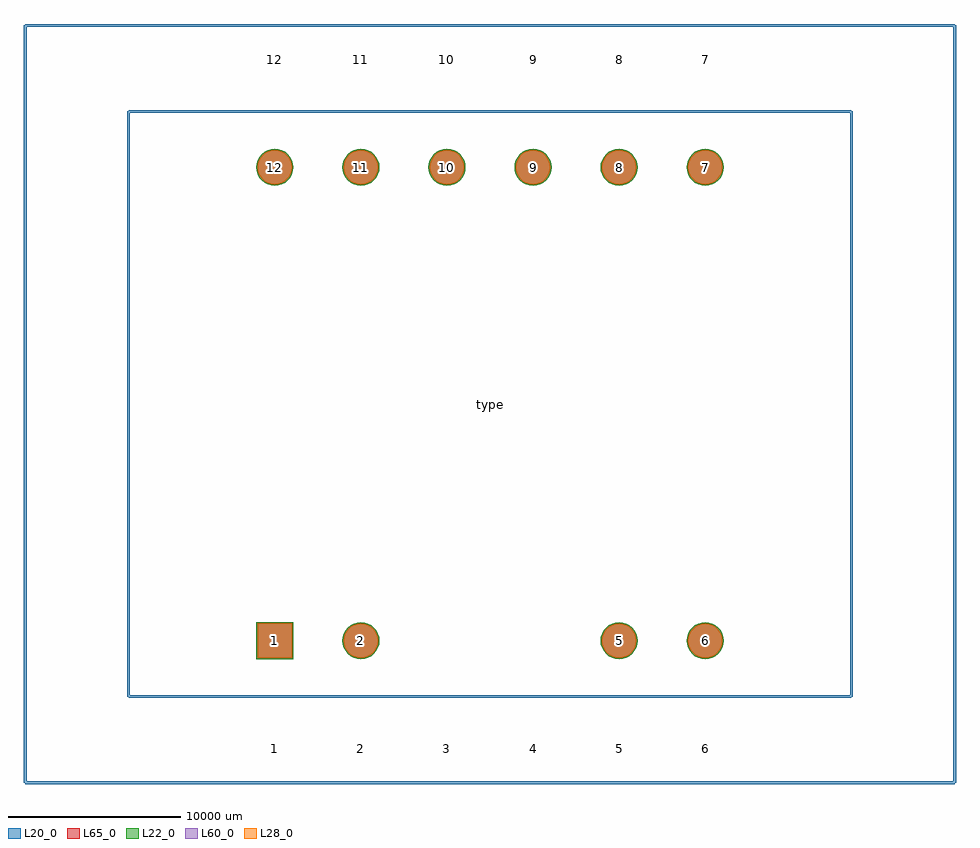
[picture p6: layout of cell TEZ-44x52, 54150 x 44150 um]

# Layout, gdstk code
import gdstk
lib = gdstk.Library(unit=1e-6, precision=1e-09)
def R(c, l, rs):  # rectangles x0, y0, x1, y1
    for r in rs: c.add(gdstk.rectangle(r[:2], r[2:], *l))
def P(c, l, *ps):  # polygons
    for p in ps: c.add(gdstk.Polygon(p, *l))
L20_0 = (20, 0)
L22_0 = (22, 0)
L28_0 = (28, 0)
L60_0 = (60, 0)
L65_0 = (65, 0)

tez_44x52 = lib.new_cell('TEZ-44x52')
R(tez_44x52, L22_0, [(-13575,-14825,-11425,-12675)])
P(tez_44x52, L22_0, [(-11425,13750),(-11445.656,13959.722),(-11506.83,14161.385),(-11606.17,14347.238),(-11739.86,14510.14),(-11902.762,14643.83),(-12088.615,14743.17),(-12290.278,14804.344),(-12500,14825),(-12709.722,14804.344),(-12911.385,14743.17),(-13097.238,14643.83),(-13260.14,14510.14),(-13393.83,14347.238),(-13493.17,14161.385),(-13554.344,13959.722),(-13575,13750),(-13554.344,13540.278),(-13493.17,13338.615),(-13393.83,13152.762),(-13260.14,12989.86),(-13097.238,12856.17),(-12911.385,12756.83),(-12709.722,12695.656),(-12500,12675),(-12290.278,12695.656),(-12088.615,12756.83),(-11902.762,12856.17),(-11739.86,12989.86),(-11606.17,13152.762),(-11506.83,13338.615),(-11445.656,13540.278)],
  [(-6425,13750),(-6445.656,13959.722),(-6506.83,14161.385),(-6606.17,14347.238),(-6739.86,14510.14),(-6902.762,14643.83),(-7088.615,14743.17),(-7290.278,14804.344),(-7500,14825),(-7709.722,14804.344),(-7911.385,14743.17),(-8097.238,14643.83),(-8260.14,14510.14),(-8393.83,14347.238),(-8493.17,14161.385),(-8554.344,13959.722),(-8575,13750),(-8554.344,13540.278),(-8493.17,13338.615),(-8393.83,13152.762),(-8260.14,12989.86),(-8097.238,12856.17),(-7911.385,12756.83),(-7709.722,12695.656),(-7500,12675),(-7290.278,12695.656),(-7088.615,12756.83),(-6902.762,12856.17),(-6739.86,12989.86),(-6606.17,13152.762),(-6506.83,13338.615),(-6445.656,13540.278)],
  [(-1425,13750),(-1445.656,13959.722),(-1506.83,14161.385),(-1606.17,14347.238),(-1739.86,14510.14),(-1902.762,14643.83),(-2088.615,14743.17),(-2290.278,14804.344),(-2500,14825),(-2709.722,14804.344),(-2911.385,14743.17),(-3097.238,14643.83),(-3260.14,14510.14),(-3393.83,14347.238),(-3493.17,14161.385),(-3554.344,13959.722),(-3575,13750),(-3554.344,13540.278),(-3493.17,13338.615),(-3393.83,13152.762),(-3260.14,12989.86),(-3097.238,12856.17),(-2911.385,12756.83),(-2709.722,12695.656),(-2500,12675),(-2290.278,12695.656),(-2088.615,12756.83),(-1902.762,12856.17),(-1739.86,12989.86),(-1606.17,13152.762),(-1506.83,13338.615),(-1445.656,13540.278)],
  [(3575,13750),(3554.344,13959.722),(3493.17,14161.385),(3393.83,14347.238),(3260.14,14510.14),(3097.238,14643.83),(2911.385,14743.17),(2709.722,14804.344),(2500,14825),(2290.278,14804.344),(2088.615,14743.17),(1902.762,14643.83),(1739.86,14510.14),(1606.17,14347.238),(1506.83,14161.385),(1445.656,13959.722),(1425,13750),(1445.656,13540.278),(1506.83,13338.615),(1606.17,13152.762),(1739.86,12989.86),(1902.762,12856.17),(2088.615,12756.83),(2290.278,12695.656),(2500,12675),(2709.722,12695.656),(2911.385,12756.83),(3097.238,12856.17),(3260.14,12989.86),(3393.83,13152.762),(3493.17,13338.615),(3554.344,13540.278)],
  [(8575,13750),(8554.344,13959.722),(8493.17,14161.385),(8393.83,14347.238),(8260.14,14510.14),(8097.238,14643.83),(7911.385,14743.17),(7709.722,14804.344),(7500,14825),(7290.278,14804.344),(7088.615,14743.17),(6902.762,14643.83),(6739.86,14510.14),(6606.17,14347.238),(6506.83,14161.385),(6445.656,13959.722),(6425,13750),(6445.656,13540.278),(6506.83,13338.615),(6606.17,13152.762),(6739.86,12989.86),(6902.762,12856.17),(7088.615,12756.83),(7290.278,12695.656),(7500,12675),(7709.722,12695.656),(7911.385,12756.83),(8097.238,12856.17),(8260.14,12989.86),(8393.83,13152.762),(8493.17,13338.615),(8554.344,13540.278)],
  [(13575,13750),(13554.344,13959.722),(13493.17,14161.385),(13393.83,14347.238),(13260.14,14510.14),(13097.238,14643.83),(12911.385,14743.17),(12709.722,14804.344),(12500,14825),(12290.278,14804.344),(12088.615,14743.17),(11902.762,14643.83),(11739.86,14510.14),(11606.17,14347.238),(11506.83,14161.385),(11445.656,13959.722),(11425,13750),(11445.656,13540.278),(11506.83,13338.615),(11606.17,13152.762),(11739.86,12989.86),(11902.762,12856.17),(12088.615,12756.83),(12290.278,12695.656),(12500,12675),(12709.722,12695.656),(12911.385,12756.83),(13097.238,12856.17),(13260.14,12989.86),(13393.83,13152.762),(13493.17,13338.615),(13554.344,13540.278)],
  [(13575,-13750),(13554.344,-13540.278),(13493.17,-13338.615),(13393.83,-13152.762),(13260.14,-12989.86),(13097.238,-12856.17),(12911.385,-12756.83),(12709.722,-12695.656),(12500,-12675),(12290.278,-12695.656),(12088.615,-12756.83),(11902.762,-12856.17),(11739.86,-12989.86),(11606.17,-13152.762),(11506.83,-13338.615),(11445.656,-13540.278),(11425,-13750),(11445.656,-13959.722),(11506.83,-14161.385),(11606.17,-14347.238),(11739.86,-14510.14),(11902.762,-14643.83),(12088.615,-14743.17),(12290.278,-14804.344),(12500,-14825),(12709.722,-14804.344),(12911.385,-14743.17),(13097.238,-14643.83),(13260.14,-14510.14),(13393.83,-14347.238),(13493.17,-14161.385),(13554.344,-13959.722)],
  [(8575,-13750),(8554.344,-13540.278),(8493.17,-13338.615),(8393.83,-13152.762),(8260.14,-12989.86),(8097.238,-12856.17),(7911.385,-12756.83),(7709.722,-12695.656),(7500,-12675),(7290.278,-12695.656),(7088.615,-12756.83),(6902.762,-12856.17),(6739.86,-12989.86),(6606.17,-13152.762),(6506.83,-13338.615),(6445.656,-13540.278),(6425,-13750),(6445.656,-13959.722),(6506.83,-14161.385),(6606.17,-14347.238),(6739.86,-14510.14),(6902.762,-14643.83),(7088.615,-14743.17),(7290.278,-14804.344),(7500,-14825),(7709.722,-14804.344),(7911.385,-14743.17),(8097.238,-14643.83),(8260.14,-14510.14),(8393.83,-14347.238),(8493.17,-14161.385),(8554.344,-13959.722)],
  [(-6425,-13750),(-6445.656,-13540.278),(-6506.83,-13338.615),(-6606.17,-13152.762),(-6739.86,-12989.86),(-6902.762,-12856.17),(-7088.615,-12756.83),(-7290.278,-12695.656),(-7500,-12675),(-7709.722,-12695.656),(-7911.385,-12756.83),(-8097.238,-12856.17),(-8260.14,-12989.86),(-8393.83,-13152.762),(-8493.17,-13338.615),(-8554.344,-13540.278),(-8575,-13750),(-8554.344,-13959.722),(-8493.17,-14161.385),(-8393.83,-14347.238),(-8260.14,-14510.14),(-8097.238,-14643.83),(-7911.385,-14743.17),(-7709.722,-14804.344),(-7500,-14825),(-7290.278,-14804.344),(-7088.615,-14743.17),(-6902.762,-14643.83),(-6739.86,-14510.14),(-6606.17,-14347.238),(-6506.83,-14161.385),(-6445.656,-13959.722)])
R(tez_44x52, L28_0, [(-13500,-14750,-11500,-12750)])
P(tez_44x52, L28_0, [(-11500,13750),(-11519.215,13945.09),(-11576.12,14132.683),(-11668.53,14305.57),(-11792.893,14457.107),(-11944.43,14581.47),(-12117.317,14673.88),(-12304.91,14730.785),(-12500,14750),(-12695.09,14730.785),(-12882.683,14673.88),(-13055.57,14581.47),(-13207.107,14457.107),(-13331.47,14305.57),(-13423.88,14132.683),(-13480.785,13945.09),(-13500,13750),(-13480.785,13554.91),(-13423.88,13367.317),(-13331.47,13194.43),(-13207.107,13042.893),(-13055.57,12918.53),(-12882.683,12826.12),(-12695.09,12769.215),(-12500,12750),(-12304.91,12769.215),(-12117.317,12826.12),(-11944.43,12918.53),(-11792.893,13042.893),(-11668.53,13194.43),(-11576.12,13367.317),(-11519.215,13554.91)],
  [(-6500,13750),(-6519.215,13945.09),(-6576.12,14132.683),(-6668.53,14305.57),(-6792.893,14457.107),(-6944.43,14581.47),(-7117.317,14673.88),(-7304.91,14730.785),(-7500,14750),(-7695.09,14730.785),(-7882.683,14673.88),(-8055.57,14581.47),(-8207.107,14457.107),(-8331.47,14305.57),(-8423.88,14132.683),(-8480.785,13945.09),(-8500,13750),(-8480.785,13554.91),(-8423.88,13367.317),(-8331.47,13194.43),(-8207.107,13042.893),(-8055.57,12918.53),(-7882.683,12826.12),(-7695.09,12769.215),(-7500,12750),(-7304.91,12769.215),(-7117.317,12826.12),(-6944.43,12918.53),(-6792.893,13042.893),(-6668.53,13194.43),(-6576.12,13367.317),(-6519.215,13554.91)],
  [(-1500,13750),(-1519.215,13945.09),(-1576.12,14132.683),(-1668.53,14305.57),(-1792.893,14457.107),(-1944.43,14581.47),(-2117.317,14673.88),(-2304.91,14730.785),(-2500,14750),(-2695.09,14730.785),(-2882.683,14673.88),(-3055.57,14581.47),(-3207.107,14457.107),(-3331.47,14305.57),(-3423.88,14132.683),(-3480.785,13945.09),(-3500,13750),(-3480.785,13554.91),(-3423.88,13367.317),(-3331.47,13194.43),(-3207.107,13042.893),(-3055.57,12918.53),(-2882.683,12826.12),(-2695.09,12769.215),(-2500,12750),(-2304.91,12769.215),(-2117.317,12826.12),(-1944.43,12918.53),(-1792.893,13042.893),(-1668.53,13194.43),(-1576.12,13367.317),(-1519.215,13554.91)],
  [(3500,13750),(3480.785,13945.09),(3423.88,14132.683),(3331.47,14305.57),(3207.107,14457.107),(3055.57,14581.47),(2882.683,14673.88),(2695.09,14730.785),(2500,14750),(2304.91,14730.785),(2117.317,14673.88),(1944.43,14581.47),(1792.893,14457.107),(1668.53,14305.57),(1576.12,14132.683),(1519.215,13945.09),(1500,13750),(1519.215,13554.91),(1576.12,13367.317),(1668.53,13194.43),(1792.893,13042.893),(1944.43,12918.53),(2117.317,12826.12),(2304.91,12769.215),(2500,12750),(2695.09,12769.215),(2882.683,12826.12),(3055.57,12918.53),(3207.107,13042.893),(3331.47,13194.43),(3423.88,13367.317),(3480.785,13554.91)],
  [(8500,13750),(8480.785,13945.09),(8423.88,14132.683),(8331.47,14305.57),(8207.107,14457.107),(8055.57,14581.47),(7882.683,14673.88),(7695.09,14730.785),(7500,14750),(7304.91,14730.785),(7117.317,14673.88),(6944.43,14581.47),(6792.893,14457.107),(6668.53,14305.57),(6576.12,14132.683),(6519.215,13945.09),(6500,13750),(6519.215,13554.91),(6576.12,13367.317),(6668.53,13194.43),(6792.893,13042.893),(6944.43,12918.53),(7117.317,12826.12),(7304.91,12769.215),(7500,12750),(7695.09,12769.215),(7882.683,12826.12),(8055.57,12918.53),(8207.107,13042.893),(8331.47,13194.43),(8423.88,13367.317),(8480.785,13554.91)],
  [(13500,13750),(13480.785,13945.09),(13423.88,14132.683),(13331.47,14305.57),(13207.107,14457.107),(13055.57,14581.47),(12882.683,14673.88),(12695.09,14730.785),(12500,14750),(12304.91,14730.785),(12117.317,14673.88),(11944.43,14581.47),(11792.893,14457.107),(11668.53,14305.57),(11576.12,14132.683),(11519.215,13945.09),(11500,13750),(11519.215,13554.91),(11576.12,13367.317),(11668.53,13194.43),(11792.893,13042.893),(11944.43,12918.53),(12117.317,12826.12),(12304.91,12769.215),(12500,12750),(12695.09,12769.215),(12882.683,12826.12),(13055.57,12918.53),(13207.107,13042.893),(13331.47,13194.43),(13423.88,13367.317),(13480.785,13554.91)],
  [(13500,-13750),(13480.785,-13554.91),(13423.88,-13367.317),(13331.47,-13194.43),(13207.107,-13042.893),(13055.57,-12918.53),(12882.683,-12826.12),(12695.09,-12769.215),(12500,-12750),(12304.91,-12769.215),(12117.317,-12826.12),(11944.43,-12918.53),(11792.893,-13042.893),(11668.53,-13194.43),(11576.12,-13367.317),(11519.215,-13554.91),(11500,-13750),(11519.215,-13945.09),(11576.12,-14132.683),(11668.53,-14305.57),(11792.893,-14457.107),(11944.43,-14581.47),(12117.317,-14673.88),(12304.91,-14730.785),(12500,-14750),(12695.09,-14730.785),(12882.683,-14673.88),(13055.57,-14581.47),(13207.107,-14457.107),(13331.47,-14305.57),(13423.88,-14132.683),(13480.785,-13945.09)],
  [(8500,-13750),(8480.785,-13554.91),(8423.88,-13367.317),(8331.47,-13194.43),(8207.107,-13042.893),(8055.57,-12918.53),(7882.683,-12826.12),(7695.09,-12769.215),(7500,-12750),(7304.91,-12769.215),(7117.317,-12826.12),(6944.43,-12918.53),(6792.893,-13042.893),(6668.53,-13194.43),(6576.12,-13367.317),(6519.215,-13554.91),(6500,-13750),(6519.215,-13945.09),(6576.12,-14132.683),(6668.53,-14305.57),(6792.893,-14457.107),(6944.43,-14581.47),(7117.317,-14673.88),(7304.91,-14730.785),(7500,-14750),(7695.09,-14730.785),(7882.683,-14673.88),(8055.57,-14581.47),(8207.107,-14457.107),(8331.47,-14305.57),(8423.88,-14132.683),(8480.785,-13945.09)],
  [(-6500,-13750),(-6519.215,-13554.91),(-6576.12,-13367.317),(-6668.53,-13194.43),(-6792.893,-13042.893),(-6944.43,-12918.53),(-7117.317,-12826.12),(-7304.91,-12769.215),(-7500,-12750),(-7695.09,-12769.215),(-7882.683,-12826.12),(-8055.57,-12918.53),(-8207.107,-13042.893),(-8331.47,-13194.43),(-8423.88,-13367.317),(-8480.785,-13554.91),(-8500,-13750),(-8480.785,-13945.09),(-8423.88,-14132.683),(-8331.47,-14305.57),(-8207.107,-14457.107),(-8055.57,-14581.47),(-7882.683,-14673.88),(-7695.09,-14730.785),(-7500,-14750),(-7304.91,-14730.785),(-7117.317,-14673.88),(-6944.43,-14581.47),(-6792.893,-14457.107),(-6668.53,-14305.57),(-6576.12,-14132.683),(-6519.215,-13945.09)])
R(tez_44x52, L60_0, [(-13500,-14750,-11500,-12750)])
P(tez_44x52, L60_0, [(-11500,13750),(-11519.215,13945.09),(-11576.12,14132.683),(-11668.53,14305.57),(-11792.893,14457.107),(-11944.43,14581.47),(-12117.317,14673.88),(-12304.91,14730.785),(-12500,14750),(-12695.09,14730.785),(-12882.683,14673.88),(-13055.57,14581.47),(-13207.107,14457.107),(-13331.47,14305.57),(-13423.88,14132.683),(-13480.785,13945.09),(-13500,13750),(-13480.785,13554.91),(-13423.88,13367.317),(-13331.47,13194.43),(-13207.107,13042.893),(-13055.57,12918.53),(-12882.683,12826.12),(-12695.09,12769.215),(-12500,12750),(-12304.91,12769.215),(-12117.317,12826.12),(-11944.43,12918.53),(-11792.893,13042.893),(-11668.53,13194.43),(-11576.12,13367.317),(-11519.215,13554.91)],
  [(-6500,13750),(-6519.215,13945.09),(-6576.12,14132.683),(-6668.53,14305.57),(-6792.893,14457.107),(-6944.43,14581.47),(-7117.317,14673.88),(-7304.91,14730.785),(-7500,14750),(-7695.09,14730.785),(-7882.683,14673.88),(-8055.57,14581.47),(-8207.107,14457.107),(-8331.47,14305.57),(-8423.88,14132.683),(-8480.785,13945.09),(-8500,13750),(-8480.785,13554.91),(-8423.88,13367.317),(-8331.47,13194.43),(-8207.107,13042.893),(-8055.57,12918.53),(-7882.683,12826.12),(-7695.09,12769.215),(-7500,12750),(-7304.91,12769.215),(-7117.317,12826.12),(-6944.43,12918.53),(-6792.893,13042.893),(-6668.53,13194.43),(-6576.12,13367.317),(-6519.215,13554.91)],
  [(-1500,13750),(-1519.215,13945.09),(-1576.12,14132.683),(-1668.53,14305.57),(-1792.893,14457.107),(-1944.43,14581.47),(-2117.317,14673.88),(-2304.91,14730.785),(-2500,14750),(-2695.09,14730.785),(-2882.683,14673.88),(-3055.57,14581.47),(-3207.107,14457.107),(-3331.47,14305.57),(-3423.88,14132.683),(-3480.785,13945.09),(-3500,13750),(-3480.785,13554.91),(-3423.88,13367.317),(-3331.47,13194.43),(-3207.107,13042.893),(-3055.57,12918.53),(-2882.683,12826.12),(-2695.09,12769.215),(-2500,12750),(-2304.91,12769.215),(-2117.317,12826.12),(-1944.43,12918.53),(-1792.893,13042.893),(-1668.53,13194.43),(-1576.12,13367.317),(-1519.215,13554.91)],
  [(3500,13750),(3480.785,13945.09),(3423.88,14132.683),(3331.47,14305.57),(3207.107,14457.107),(3055.57,14581.47),(2882.683,14673.88),(2695.09,14730.785),(2500,14750),(2304.91,14730.785),(2117.317,14673.88),(1944.43,14581.47),(1792.893,14457.107),(1668.53,14305.57),(1576.12,14132.683),(1519.215,13945.09),(1500,13750),(1519.215,13554.91),(1576.12,13367.317),(1668.53,13194.43),(1792.893,13042.893),(1944.43,12918.53),(2117.317,12826.12),(2304.91,12769.215),(2500,12750),(2695.09,12769.215),(2882.683,12826.12),(3055.57,12918.53),(3207.107,13042.893),(3331.47,13194.43),(3423.88,13367.317),(3480.785,13554.91)],
  [(8500,13750),(8480.785,13945.09),(8423.88,14132.683),(8331.47,14305.57),(8207.107,14457.107),(8055.57,14581.47),(7882.683,14673.88),(7695.09,14730.785),(7500,14750),(7304.91,14730.785),(7117.317,14673.88),(6944.43,14581.47),(6792.893,14457.107),(6668.53,14305.57),(6576.12,14132.683),(6519.215,13945.09),(6500,13750),(6519.215,13554.91),(6576.12,13367.317),(6668.53,13194.43),(6792.893,13042.893),(6944.43,12918.53),(7117.317,12826.12),(7304.91,12769.215),(7500,12750),(7695.09,12769.215),(7882.683,12826.12),(8055.57,12918.53),(8207.107,13042.893),(8331.47,13194.43),(8423.88,13367.317),(8480.785,13554.91)],
  [(13500,13750),(13480.785,13945.09),(13423.88,14132.683),(13331.47,14305.57),(13207.107,14457.107),(13055.57,14581.47),(12882.683,14673.88),(12695.09,14730.785),(12500,14750),(12304.91,14730.785),(12117.317,14673.88),(11944.43,14581.47),(11792.893,14457.107),(11668.53,14305.57),(11576.12,14132.683),(11519.215,13945.09),(11500,13750),(11519.215,13554.91),(11576.12,13367.317),(11668.53,13194.43),(11792.893,13042.893),(11944.43,12918.53),(12117.317,12826.12),(12304.91,12769.215),(12500,12750),(12695.09,12769.215),(12882.683,12826.12),(13055.57,12918.53),(13207.107,13042.893),(13331.47,13194.43),(13423.88,13367.317),(13480.785,13554.91)],
  [(13500,-13750),(13480.785,-13554.91),(13423.88,-13367.317),(13331.47,-13194.43),(13207.107,-13042.893),(13055.57,-12918.53),(12882.683,-12826.12),(12695.09,-12769.215),(12500,-12750),(12304.91,-12769.215),(12117.317,-12826.12),(11944.43,-12918.53),(11792.893,-13042.893),(11668.53,-13194.43),(11576.12,-13367.317),(11519.215,-13554.91),(11500,-13750),(11519.215,-13945.09),(11576.12,-14132.683),(11668.53,-14305.57),(11792.893,-14457.107),(11944.43,-14581.47),(12117.317,-14673.88),(12304.91,-14730.785),(12500,-14750),(12695.09,-14730.785),(12882.683,-14673.88),(13055.57,-14581.47),(13207.107,-14457.107),(13331.47,-14305.57),(13423.88,-14132.683),(13480.785,-13945.09)],
  [(8500,-13750),(8480.785,-13554.91),(8423.88,-13367.317),(8331.47,-13194.43),(8207.107,-13042.893),(8055.57,-12918.53),(7882.683,-12826.12),(7695.09,-12769.215),(7500,-12750),(7304.91,-12769.215),(7117.317,-12826.12),(6944.43,-12918.53),(6792.893,-13042.893),(6668.53,-13194.43),(6576.12,-13367.317),(6519.215,-13554.91),(6500,-13750),(6519.215,-13945.09),(6576.12,-14132.683),(6668.53,-14305.57),(6792.893,-14457.107),(6944.43,-14581.47),(7117.317,-14673.88),(7304.91,-14730.785),(7500,-14750),(7695.09,-14730.785),(7882.683,-14673.88),(8055.57,-14581.47),(8207.107,-14457.107),(8331.47,-14305.57),(8423.88,-14132.683),(8480.785,-13945.09)],
  [(-6500,-13750),(-6519.215,-13554.91),(-6576.12,-13367.317),(-6668.53,-13194.43),(-6792.893,-13042.893),(-6944.43,-12918.53),(-7117.317,-12826.12),(-7304.91,-12769.215),(-7500,-12750),(-7695.09,-12769.215),(-7882.683,-12826.12),(-8055.57,-12918.53),(-8207.107,-13042.893),(-8331.47,-13194.43),(-8423.88,-13367.317),(-8480.785,-13554.91),(-8500,-13750),(-8480.785,-13945.09),(-8423.88,-14132.683),(-8331.47,-14305.57),(-8207.107,-14457.107),(-8055.57,-14581.47),(-7882.683,-14673.88),(-7695.09,-14730.785),(-7500,-14750),(-7304.91,-14730.785),(-7117.317,-14673.88),(-6944.43,-14581.47),(-6792.893,-14457.107),(-6668.53,-14305.57),(-6576.12,-14132.683),(-6519.215,-13945.09)])
R(tez_44x52, L65_0, [(-13575,-14825,-11425,-12675)])
P(tez_44x52, L65_0, [(-11425,13750),(-11445.656,13959.722),(-11506.83,14161.385),(-11606.17,14347.238),(-11739.86,14510.14),(-11902.762,14643.83),(-12088.615,14743.17),(-12290.278,14804.344),(-12500,14825),(-12709.722,14804.344),(-12911.385,14743.17),(-13097.238,14643.83),(-13260.14,14510.14),(-13393.83,14347.238),(-13493.17,14161.385),(-13554.344,13959.722),(-13575,13750),(-13554.344,13540.278),(-13493.17,13338.615),(-13393.83,13152.762),(-13260.14,12989.86),(-13097.238,12856.17),(-12911.385,12756.83),(-12709.722,12695.656),(-12500,12675),(-12290.278,12695.656),(-12088.615,12756.83),(-11902.762,12856.17),(-11739.86,12989.86),(-11606.17,13152.762),(-11506.83,13338.615),(-11445.656,13540.278)],
  [(-6425,13750),(-6445.656,13959.722),(-6506.83,14161.385),(-6606.17,14347.238),(-6739.86,14510.14),(-6902.762,14643.83),(-7088.615,14743.17),(-7290.278,14804.344),(-7500,14825),(-7709.722,14804.344),(-7911.385,14743.17),(-8097.238,14643.83),(-8260.14,14510.14),(-8393.83,14347.238),(-8493.17,14161.385),(-8554.344,13959.722),(-8575,13750),(-8554.344,13540.278),(-8493.17,13338.615),(-8393.83,13152.762),(-8260.14,12989.86),(-8097.238,12856.17),(-7911.385,12756.83),(-7709.722,12695.656),(-7500,12675),(-7290.278,12695.656),(-7088.615,12756.83),(-6902.762,12856.17),(-6739.86,12989.86),(-6606.17,13152.762),(-6506.83,13338.615),(-6445.656,13540.278)],
  [(-1425,13750),(-1445.656,13959.722),(-1506.83,14161.385),(-1606.17,14347.238),(-1739.86,14510.14),(-1902.762,14643.83),(-2088.615,14743.17),(-2290.278,14804.344),(-2500,14825),(-2709.722,14804.344),(-2911.385,14743.17),(-3097.238,14643.83),(-3260.14,14510.14),(-3393.83,14347.238),(-3493.17,14161.385),(-3554.344,13959.722),(-3575,13750),(-3554.344,13540.278),(-3493.17,13338.615),(-3393.83,13152.762),(-3260.14,12989.86),(-3097.238,12856.17),(-2911.385,12756.83),(-2709.722,12695.656),(-2500,12675),(-2290.278,12695.656),(-2088.615,12756.83),(-1902.762,12856.17),(-1739.86,12989.86),(-1606.17,13152.762),(-1506.83,13338.615),(-1445.656,13540.278)],
  [(3575,13750),(3554.344,13959.722),(3493.17,14161.385),(3393.83,14347.238),(3260.14,14510.14),(3097.238,14643.83),(2911.385,14743.17),(2709.722,14804.344),(2500,14825),(2290.278,14804.344),(2088.615,14743.17),(1902.762,14643.83),(1739.86,14510.14),(1606.17,14347.238),(1506.83,14161.385),(1445.656,13959.722),(1425,13750),(1445.656,13540.278),(1506.83,13338.615),(1606.17,13152.762),(1739.86,12989.86),(1902.762,12856.17),(2088.615,12756.83),(2290.278,12695.656),(2500,12675),(2709.722,12695.656),(2911.385,12756.83),(3097.238,12856.17),(3260.14,12989.86),(3393.83,13152.762),(3493.17,13338.615),(3554.344,13540.278)],
  [(8575,13750),(8554.344,13959.722),(8493.17,14161.385),(8393.83,14347.238),(8260.14,14510.14),(8097.238,14643.83),(7911.385,14743.17),(7709.722,14804.344),(7500,14825),(7290.278,14804.344),(7088.615,14743.17),(6902.762,14643.83),(6739.86,14510.14),(6606.17,14347.238),(6506.83,14161.385),(6445.656,13959.722),(6425,13750),(6445.656,13540.278),(6506.83,13338.615),(6606.17,13152.762),(6739.86,12989.86),(6902.762,12856.17),(7088.615,12756.83),(7290.278,12695.656),(7500,12675),(7709.722,12695.656),(7911.385,12756.83),(8097.238,12856.17),(8260.14,12989.86),(8393.83,13152.762),(8493.17,13338.615),(8554.344,13540.278)],
  [(13575,13750),(13554.344,13959.722),(13493.17,14161.385),(13393.83,14347.238),(13260.14,14510.14),(13097.238,14643.83),(12911.385,14743.17),(12709.722,14804.344),(12500,14825),(12290.278,14804.344),(12088.615,14743.17),(11902.762,14643.83),(11739.86,14510.14),(11606.17,14347.238),(11506.83,14161.385),(11445.656,13959.722),(11425,13750),(11445.656,13540.278),(11506.83,13338.615),(11606.17,13152.762),(11739.86,12989.86),(11902.762,12856.17),(12088.615,12756.83),(12290.278,12695.656),(12500,12675),(12709.722,12695.656),(12911.385,12756.83),(13097.238,12856.17),(13260.14,12989.86),(13393.83,13152.762),(13493.17,13338.615),(13554.344,13540.278)],
  [(13575,-13750),(13554.344,-13540.278),(13493.17,-13338.615),(13393.83,-13152.762),(13260.14,-12989.86),(13097.238,-12856.17),(12911.385,-12756.83),(12709.722,-12695.656),(12500,-12675),(12290.278,-12695.656),(12088.615,-12756.83),(11902.762,-12856.17),(11739.86,-12989.86),(11606.17,-13152.762),(11506.83,-13338.615),(11445.656,-13540.278),(11425,-13750),(11445.656,-13959.722),(11506.83,-14161.385),(11606.17,-14347.238),(11739.86,-14510.14),(11902.762,-14643.83),(12088.615,-14743.17),(12290.278,-14804.344),(12500,-14825),(12709.722,-14804.344),(12911.385,-14743.17),(13097.238,-14643.83),(13260.14,-14510.14),(13393.83,-14347.238),(13493.17,-14161.385),(13554.344,-13959.722)],
  [(8575,-13750),(8554.344,-13540.278),(8493.17,-13338.615),(8393.83,-13152.762),(8260.14,-12989.86),(8097.238,-12856.17),(7911.385,-12756.83),(7709.722,-12695.656),(7500,-12675),(7290.278,-12695.656),(7088.615,-12756.83),(6902.762,-12856.17),(6739.86,-12989.86),(6606.17,-13152.762),(6506.83,-13338.615),(6445.656,-13540.278),(6425,-13750),(6445.656,-13959.722),(6506.83,-14161.385),(6606.17,-14347.238),(6739.86,-14510.14),(6902.762,-14643.83),(7088.615,-14743.17),(7290.278,-14804.344),(7500,-14825),(7709.722,-14804.344),(7911.385,-14743.17),(8097.238,-14643.83),(8260.14,-14510.14),(8393.83,-14347.238),(8493.17,-14161.385),(8554.344,-13959.722)],
  [(-6425,-13750),(-6445.656,-13540.278),(-6506.83,-13338.615),(-6606.17,-13152.762),(-6739.86,-12989.86),(-6902.762,-12856.17),(-7088.615,-12756.83),(-7290.278,-12695.656),(-7500,-12675),(-7709.722,-12695.656),(-7911.385,-12756.83),(-8097.238,-12856.17),(-8260.14,-12989.86),(-8393.83,-13152.762),(-8493.17,-13338.615),(-8554.344,-13540.278),(-8575,-13750),(-8554.344,-13959.722),(-8493.17,-14161.385),(-8393.83,-14347.238),(-8260.14,-14510.14),(-8097.238,-14643.83),(-7911.385,-14743.17),(-7709.722,-14804.344),(-7500,-14825),(-7290.278,-14804.344),(-7088.615,-14743.17),(-6902.762,-14643.83),(-6739.86,-14510.14),(-6606.17,-14347.238),(-6506.83,-14161.385),(-6445.656,-13959.722)])
tez_44x52.add(gdstk.FlexPath([(-27000,-22000),(-27000,22000)], 149.998, ends="flush", simple_path=True, layer=20, datatype=0))  # L20_0
tez_44x52.add(gdstk.FlexPath([(27000,-22000),(-27000,-22000)], 149.998, ends="flush", simple_path=True, layer=20, datatype=0))  # L20_0
tez_44x52.add(gdstk.FlexPath([(27000,22000),(27000,-22000)], 149.998, ends="flush", simple_path=True, layer=20, datatype=0))  # L20_0
tez_44x52.add(gdstk.FlexPath([(-27000,22000),(27000,22000)], 149.998, ends="flush", simple_path=True, layer=20, datatype=0))  # L20_0
tez_44x52.add(gdstk.FlexPath([(-21000,-17000),(-21000,17000)], 149.998, ends="flush", simple_path=True, layer=20, datatype=0))  # L20_0
tez_44x52.add(gdstk.FlexPath([(21000,-17000),(-21000,-17000)], 149.998, ends="flush", simple_path=True, layer=20, datatype=0))  # L20_0
tez_44x52.add(gdstk.FlexPath([(21000,17000),(21000,-17000)], 149.998, ends="flush", simple_path=True, layer=20, datatype=0))  # L20_0
tez_44x52.add(gdstk.FlexPath([(-21000,17000),(21000,17000)], 149.998, ends="flush", simple_path=True, layer=20, datatype=0))  # L20_0
tez_44x52.add(gdstk.Label('12', (-12500,13750), layer=28, texttype=0))
tez_44x52.add(gdstk.Label('11', (-7500,13750), layer=28, texttype=0))
tez_44x52.add(gdstk.Label('10', (-2500,13750), layer=28, texttype=0))
tez_44x52.add(gdstk.Label('9', (2500,13750), layer=28, texttype=0))
tez_44x52.add(gdstk.Label('8', (7500,13750), layer=28, texttype=0))
tez_44x52.add(gdstk.Label('7', (12500,13750), layer=28, texttype=0))
tez_44x52.add(gdstk.Label('6', (12500,-13750), layer=28, texttype=0))
tez_44x52.add(gdstk.Label('5', (7500,-13750), layer=28, texttype=0))
tez_44x52.add(gdstk.Label('2', (-7500,-13750), layer=28, texttype=0))
tez_44x52.add(gdstk.Label('1', (-12500,-13750), layer=28, texttype=0))
tez_44x52.add(gdstk.Label('1', (-12500,-20000), layer=9, texttype=0))
tez_44x52.add(gdstk.Label('2', (-7500,-20000), layer=9, texttype=0))
tez_44x52.add(gdstk.Label('3', (-2500,-20000), layer=9, texttype=0))
tez_44x52.add(gdstk.Label('4', (2500,-20000), layer=9, texttype=0))
tez_44x52.add(gdstk.Label('5', (7500,-20000), layer=9, texttype=0))
tez_44x52.add(gdstk.Label('6', (12500,-20000), layer=9, texttype=0))
tez_44x52.add(gdstk.Label('7', (12500,20000), layer=9, texttype=0))
tez_44x52.add(gdstk.Label('8', (7500,20000), layer=9, texttype=0))
tez_44x52.add(gdstk.Label('9', (2500,20000), layer=9, texttype=0))
tez_44x52.add(gdstk.Label('10', (-2500,20000), layer=9, texttype=0))
tez_44x52.add(gdstk.Label('11', (-7500,20000), layer=9, texttype=0))
tez_44x52.add(gdstk.Label('12', (-12500,20000), layer=9, texttype=0))
tez_44x52.add(gdstk.Label('type', (0,0), layer=9, texttype=0))
tez_44x52.add(gdstk.Label('devicename', (0,23500), layer=9, texttype=0))

lib.write_gds('TEZ-44x52.gds')
